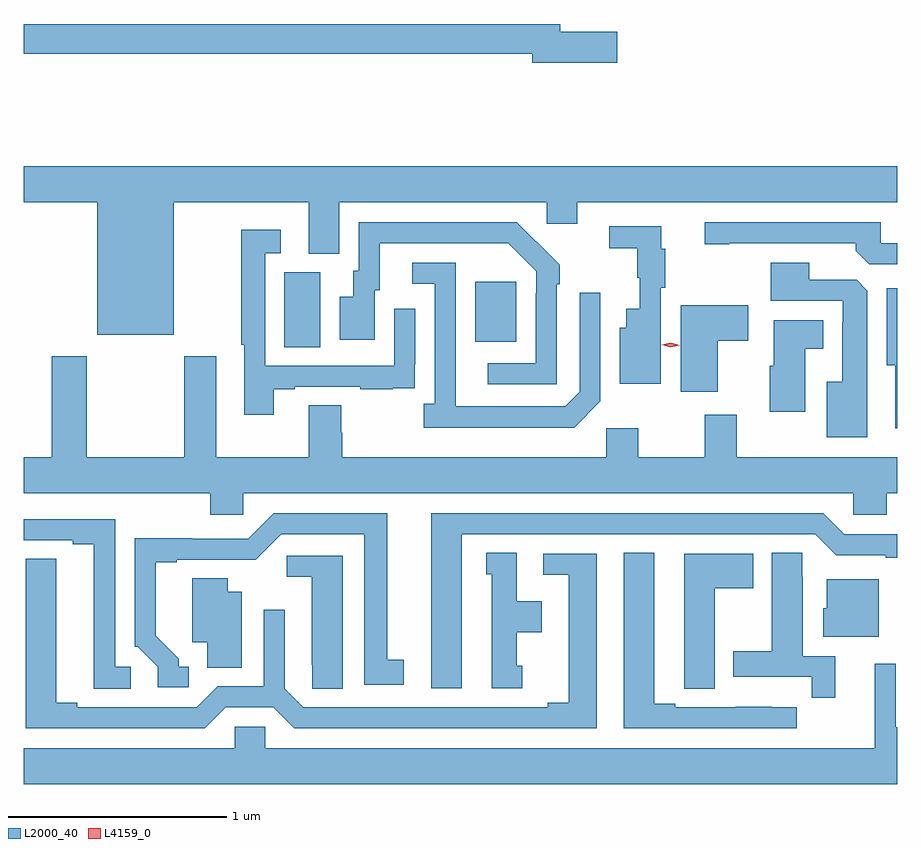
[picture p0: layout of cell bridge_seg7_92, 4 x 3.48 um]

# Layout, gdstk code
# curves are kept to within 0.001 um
import gdstk
lib = gdstk.Library(unit=1e-6, precision=1e-09)
def R(c, l, rs):  # rectangles x0, y0, x1, y1
    for r in rs: c.add(gdstk.rectangle(r[:2], r[2:], *l))
def P(c, l, *ps):  # polygons
    for p in ps: c.add(gdstk.Polygon(p, *l))
L2000_40 = (2000, 40)
L4159_0 = (4159, 0)

bridge_seg7_92 = lib.new_cell('bridge_seg7_92')
R(bridge_seg7_92, L2000_40, [(1106.822,1015.936,1106.986,1016.28), (1107.695,1015.961,1107.883,1016.236)])
P(bridge_seg7_92, L2000_40, [(1108.345,1017.38),(1108.084,1017.38),(1108.084,1017.416),(1105.628,1017.416),(1105.628,1017.28),(1107.956,1017.28),(1107.956,1017.238),(1108.345,1017.238)],
  [(1106.314,1016.6),(1106.933,1016.6),(1106.933,1016.365),(1107.073,1016.365),(1107.073,1016.6),(1108.023,1016.6),(1108.023,1016.502),(1108.162,1016.502),(1108.162,1016.6),(1109.628,1016.6),(1109.628,1016.764),(1105.628,1016.764),(1105.628,1016.6),(1105.964,1016.6),(1105.964,1015.994),(1106.314,1015.994)],
  [(1109.628,1016.412),(1109.553,1016.412),(1109.553,1016.508),(1108.746,1016.508),(1108.746,1016.407),(1108.858,1016.407),(1108.858,1016.412),(1109.438,1016.412),(1109.438,1016.378),(1109.499,1016.316),(1109.628,1016.316)],
  [(1108.068,1016.225),(1108.083,1016.225),(1108.083,1016.313),(1107.886,1016.508),(1107.162,1016.508),(1107.162,1016.286),(1107.137,1016.286),(1107.137,1016.167),(1107.074,1016.167),(1107.074,1015.971),(1107.235,1015.971),(1107.235,1016.196),(1107.259,1016.196),(1107.259,1016.412),(1107.847,1016.412),(1107.975,1016.283),(1107.975,1016.183),(1107.972,1016.183),(1107.972,1015.863),(1107.753,1015.863),(1107.753,1015.767),(1108.068,1015.767)],
  [(1108.546,1016.209),(1108.565,1016.209),(1108.565,1016.387),(1108.547,1016.387),(1108.547,1016.49),(1108.308,1016.49),(1108.308,1016.389),(1108.437,1016.389),(1108.437,1016.253),(1108.448,1016.253),(1108.448,1016.113),(1108.388,1016.113),(1108.388,1016.026),(1108.358,1016.026),(1108.358,1015.769),(1108.546,1015.769)],
  [(1106.773,1015.743),(1106.869,1015.743),(1106.869,1015.755),(1107.169,1015.755),(1107.169,1015.743),(1107.317,1015.743),(1107.317,1015.749),(1107.419,1015.749),(1107.419,1015.858),(1107.42,1015.858),(1107.42,1016.113),(1107.324,1016.113),(1107.324,1015.851),(1106.733,1015.851),(1106.733,1016.367),(1106.806,1016.367),(1106.806,1016.473),(1106.625,1016.473),(1106.625,1015.948),(1106.637,1015.948),(1106.637,1015.626),(1106.773,1015.626)],
  [(1109.491,1016.195),(1109.442,1016.244),(1109.224,1016.244),(1109.224,1016.323),(1109.048,1016.323),(1109.048,1016.148),(1109.379,1016.148),(1109.379,1016.051),(1109.375,1016.051),(1109.375,1015.777),(1109.306,1015.777),(1109.306,1015.523),(1109.491,1015.523)],
  [(1108.269,1015.689),(1108.269,1016.185),(1108.173,1016.185),(1108.173,1015.731),(1108.107,1015.665),(1107.607,1015.665),(1107.606,1016.322),(1107.408,1016.322),(1107.408,1016.226),(1107.51,1016.226),(1107.51,1015.678),(1107.459,1015.678),(1107.459,1015.568),(1108.148,1015.568)],
  [(1109.628,1016.206),(1109.579,1016.206),(1109.579,1015.853),(1109.618,1015.853),(1109.618,1015.566),(1109.628,1015.566)],
  [(1108.807,1015.966),(1108.945,1015.966),(1108.945,1016.128),(1108.637,1016.128),(1108.637,1015.733),(1108.807,1015.733)],
  [(1109.206,1015.928),(1109.29,1015.928),(1109.29,1016.059),(1109.063,1016.059),(1109.063,1015.851),(1109.045,1015.851),(1109.045,1015.641),(1109.206,1015.641)],
  [(1106.634,1015.268),(1109.427,1015.268),(1109.427,1015.17),(1109.579,1015.17),(1109.579,1015.268),(1109.628,1015.268),(1109.628,1015.432),(1108.894,1015.432),(1108.894,1015.627),(1108.747,1015.627),(1108.747,1015.432),(1108.443,1015.432),(1108.443,1015.564),(1108.296,1015.564),(1108.296,1015.432),(1107.086,1015.432),(1107.086,1015.545),(1107.081,1015.545),(1107.081,1015.67),(1106.933,1015.67),(1106.933,1015.432),(1106.509,1015.432),(1106.509,1015.894),(1106.362,1015.894),(1106.362,1015.432),(1105.917,1015.432),(1105.917,1015.894),(1105.757,1015.894),(1105.757,1015.432),(1105.628,1015.432),(1105.628,1015.268),(1106.483,1015.268),(1106.483,1015.17),(1106.634,1015.17)],
  [(1107.634,1015.08),(1109.253,1015.08),(1109.349,1014.984),(1109.576,1014.984),(1109.576,1014.972),(1109.628,1014.972),(1109.628,1015.08),(1109.385,1015.08),(1109.289,1015.176),(1107.494,1015.176),(1107.494,1014.375),(1107.634,1014.375)],
  [(1106.383,1014.474),(1106.338,1014.474),(1106.338,1014.509),(1106.233,1014.614),(1106.233,1014.951),(1106.329,1014.951),(1106.329,1014.963),(1106.69,1014.962),(1106.808,1015.08),(1107.188,1015.08),(1107.188,1014.39),(1107.367,1014.39),(1107.367,1014.506),(1107.292,1014.506),(1107.292,1015.176),(1106.772,1015.176),(1106.655,1015.059),(1106.399,1015.059),(1106.399,1015.061),(1106.136,1015.061),(1106.136,1014.564),(1106.151,1014.564),(1106.241,1014.474),(1106.241,1014.378),(1106.383,1014.378)],
  [(1106.119,1014.474),(1106.046,1014.474),(1106.046,1015.149),(1105.628,1015.149),(1105.628,1015.053),(1105.853,1015.053),(1105.853,1015.033),(1105.949,1015.033),(1105.949,1014.373),(1106.119,1014.373)],
  [(1107.91,1014.477),(1107.886,1014.477),(1107.886,1014.632),(1108,1014.632),(1108,1014.772),(1107.886,1014.772),(1107.886,1014.995),(1107.746,1014.995),(1107.746,1014.897),(1107.77,1014.897),(1107.77,1014.375),(1107.91,1014.375)],
  [(1109.345,1014.522),(1109.194,1014.522),(1109.194,1014.884),(1109.193,1014.884),(1109.193,1014.995),(1109.054,1014.995),(1109.054,1014.543),(1108.877,1014.543),(1108.877,1014.426),(1109.236,1014.426),(1109.236,1014.33),(1109.345,1014.33)],
  [(1109.167,1014.288),(1109.054,1014.288),(1109.054,1014.289),(1108.888,1014.289),(1108.888,1014.288),(1108.612,1014.288),(1108.612,1014.303),(1108.516,1014.303),(1108.516,1014.995),(1108.376,1014.995),(1108.376,1014.192),(1109.167,1014.192)],
  [(1108.792,1014.832),(1108.969,1014.832),(1108.969,1014.991),(1108.652,1014.991),(1108.652,1014.481),(1108.653,1014.481),(1108.653,1014.373),(1108.792,1014.373)],
  [(1106.553,1014.288),(1106.771,1014.288),(1106.867,1014.192),(1108.252,1014.192),(1108.252,1014.99),(1108.008,1014.99),(1108.008,1014.894),(1108.124,1014.894),(1108.124,1014.308),(1108.028,1014.308),(1108.028,1014.288),(1106.907,1014.288),(1106.823,1014.372),(1106.823,1014.733),(1106.727,1014.733),(1106.727,1014.384),(1106.517,1014.384),(1106.421,1014.288),(1105.873,1014.288),(1105.873,1014.308),(1105.777,1014.308),(1105.777,1014.968),(1105.638,1014.968),(1105.637,1014.192),(1106.457,1014.192)],
  [(1107.088,1014.981),(1106.832,1014.981),(1106.832,1014.884),(1106.948,1014.884),(1106.948,1014.481),(1106.949,1014.481),(1106.949,1014.373),(1107.088,1014.373)],
  [(1106.626,1014.817),(1106.563,1014.817),(1106.563,1014.878),(1106.399,1014.878),(1106.399,1014.584),(1106.468,1014.584),(1106.468,1014.469),(1106.626,1014.469)],
  [(1109.542,1014.874),(1109.306,1014.874),(1109.306,1014.741),(1109.288,1014.741),(1109.288,1014.611),(1109.542,1014.611)],
  [(1109.628,1014.196),(1109.622,1014.196),(1109.622,1014.487),(1109.525,1014.487),(1109.525,1014.1),(1106.733,1014.1),(1106.733,1014.198),(1106.595,1014.198),(1106.595,1014.1),(1105.628,1014.1),(1105.628,1013.936),(1109.628,1013.936)])
P(bridge_seg7_92, L4159_0, [(1108.591,1015.936),(1108.55,1015.947),(1108.55,1015.947),(1108.55,1015.947),(1108.591,1015.956),(1108.632,1015.946),(1108.632,1015.946),(1108.632,1015.946)])

lib.write_gds('bridge_seg7_92.gds')
